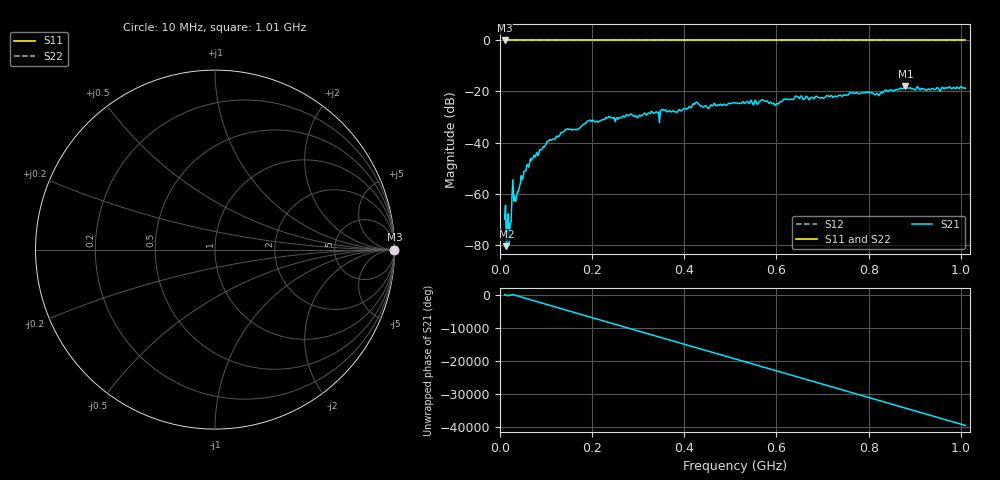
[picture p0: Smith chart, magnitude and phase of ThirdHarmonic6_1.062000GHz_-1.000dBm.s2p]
! 8/16/2025 9:31:49 AM
! C:\ANRITSUVNA\TEMP\TEMP.S2P
! CHANNEL.1
! TR.MEASUREMENT
! RAW.DATA
! RF.CORRECTION.OFF
! AVERAGING.OFF
! IF.BANDWIDTH: 5KHZ
! SWEEPTYPE:  FREQ.SWEEP(Linear)
! Reference Plane Port Info
! PORT:  PORT1  PORT2
! DISTANCE:  0  m  0  m
! TIME:  0  s  0  s
! PHASE.OFFSET:  0  deg.  0  deg.
! LOSS:  0  dB  0  dB
! REF.LOSS:  0  dB  0  dB
! REF.FREQ:  0  Hz  0  Hz
! Power Info
! POWER:  -20  dBm  -20  dBm
! EFF.POWER:  -20  dBm  -20  dBm
! SOURCE.ATTEN:  0  dB  0  dB
! TEST.ATTEN:  0  dB  0  dB
# GHZ S RI R 50.0
! FREQ.GHZ  S11RE  S11IM  S21RE  S21IM  S12RE  S12IM  S22RE  S22IM
!; PortSelection: Port_12
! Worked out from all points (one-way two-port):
!   501 points, 10 MHz to 1.01 GHz, reference 50 ohm
!   highest |S21| = -17.83 dB at 880 MHz (marker M1); lowest = -80.6 dB at 14 MHz (marker M2)
!   lowest |S11| = 0.0 dB at 10 MHz (marker M3)
!   |S11| at or under -10 dB: nowhere
!   |S22| runs from 0.0 to 0.0 dB; largest |S21 - S12| = 1.1
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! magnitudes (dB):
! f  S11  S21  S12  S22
! 10 MHz  0.0  -70.0  0.0  0.0
! 14 MHz  0.0  -80.6  0.0  0.0
! 18 MHz  0.0  -67.9  0.0  0.0
! 30 MHz  0.0  -63.0  0.0  0.0
! 34 MHz  0.0  -63.1  0.0  0.0
! 50 MHz  0.0  -53.8  0.0  0.0
! 70 MHz  0.0  -46.2  0.0  0.0
! 106 MHz  0.0  -39.5  0.0  0.0
! 144 MHz  0.0  -35.0  0.0  0.0
! 178 MHz  0.0  -33.5  0.0  0.0
! 234 MHz  0.0  -30.4  0.0  0.0
! 344 MHz  0.0  -28.1  0.0  0.0
! 424 MHz  0.0  -24.4  0.0  0.0
! 452 MHz  0.0  -26.7  0.0  0.0
! 510 MHz  0.0  -24.5  0.0  0.0
! 570 MHz  0.0  -23.2  0.0  0.0
! 600 MHz  0.0  -24.9  0.0  0.0
! 644 MHz  0.0  -21.9  0.0  0.0
! 678 MHz  0.0  -22.3  0.0  0.0
! 844 MHz  0.0  -19.8  0.0  0.0
! 880 MHz  0.0  -17.8  0.0  0.0
! 1.01 GHz  0.0  -18.7  0.0  0.0
